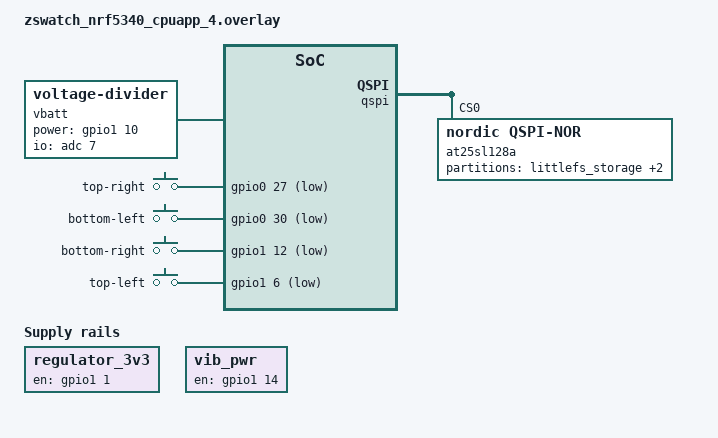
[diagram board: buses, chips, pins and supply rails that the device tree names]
&uicr {
    nfct-pins-as-gpios;
};

/ {
	chosen {
		nordic,pm-ext-flash = &at25sl128a;
	};

	aliases {
		spi-flash0 = &at25sl128a;
	};

    vbatt {
        compatible = "voltage-divider";
        io-channels = <&adc 7>;
        output-ohms = <220000>;
        full-ohms = <(1500000 + 220000)>;
        power-gpios = <&gpio1 10 0>;
    };

    longpress: longpress {
        input = <&buttons>;
        compatible = "zephyr,input-longpress";
        input-codes = <INPUT_KEY_KP0>;
        short-codes = <INPUT_KEY_3>;
        long-codes = <INPUT_KEY_Y>;
        long-delay-ms = <10000>;
    };

	buttons: buttons {
        compatible = "gpio-keys";
        button1: button_1 {
            label = "top-right";
            gpios = <&gpio0 27 (GPIO_PULL_UP | GPIO_ACTIVE_LOW)>;
            zephyr,code = <INPUT_KEY_1>;
        };
        button2: button_2 {
            label = "bottom-left";
            gpios = <&gpio0 30 (GPIO_PULL_UP | GPIO_ACTIVE_LOW)>;
            zephyr,code = <INPUT_KEY_2>;
        };
        button3: button_3 {
            label = "bottom-right";
            gpios = <&gpio1 12 (GPIO_PULL_UP | GPIO_ACTIVE_LOW)>;
            zephyr,code = <INPUT_KEY_KP0>;
        };
        button4: button_4 {
            label = "top-left";
            gpios = <&gpio1 6 (GPIO_PULL_UP | GPIO_ACTIVE_LOW)>;
            zephyr,code = <INPUT_KEY_4>;
        };
    };

	regulator_3v3: regulator-3v3-ctrl {
        compatible = "regulator-fixed";
        regulator-name = "display";
        enable-gpios = <&gpio1 1 GPIO_ACTIVE_HIGH>;
        regulator-boot-on;
        startup-delay-us = <50000>;
    };

	vib_pwr: vib-pwr-ctrl {
        compatible = "regulator-fixed";
        regulator-name = "vib-pwr-ctrl";
        enable-gpios = <&gpio1 14 GPIO_ACTIVE_HIGH>;
    };

};

&uart0 {
    status = "disabled";
};

&qspi {
	status = "okay";
	pinctrl-0 = <&qspi_default>;
	pinctrl-1 = <&qspi_sleep>;
	pinctrl-names = "default", "sleep";
	at25sl128a: at25sl128a@0 {
		compatible = "nordic,qspi-nor";
		reg = <0>;
		sck-frequency = <96000000>;
		jedec-id = [ 1f 42 18];
		size = <DT_SIZE_M(16*8)>;
		has-dpd;
        // CS High to Power-Down Mode (tDP) - 3 us
        // Rev. S Table 26. AC Electrical Characteristic
		t-enter-dpd = <3000>;
        // CS High to Standby Mode without Electronic Signature Read (tRES1) 3 us
        // Rev. S Table 26. AC Electrical Characteristic
		t-exit-dpd = <3000>;
		// Configure to actully use Quad SPI data.
		writeoc = "pp4o";
		readoc = "read4io";
		quad-enable-requirements = "S2B1v6";
	};
};

/delete-node/ &storage_partition;

&at25sl128a {
	partitions {
		compatible = "fixed-partitions";
		#address-cells = <1>;
		#size-cells = <1>;
		
		// For Nordic Partition manager to work it has to have this name.
		littlefs_storage: partition@320000 {
			label = "littlefs_storage";
			reg = <0x320000 0x200000>;
		};

		lvgl_raw_partition: partition@520000 {
			label = "lvgl_raw_partition";
			reg = <0x520000 0x800000>;
		};

		storage_partition: partition@D20000 {
			label = "storage_partition";
			reg = <0xD20000 0x100000 >;
		};
	};
};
